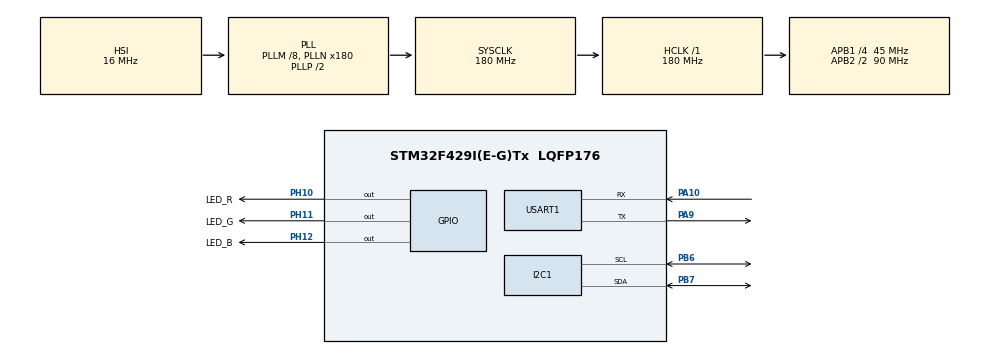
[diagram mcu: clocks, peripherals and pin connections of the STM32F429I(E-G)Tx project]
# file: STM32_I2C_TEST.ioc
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Mcu.Family=STM32F4
Mcu.Name=STM32F429I(E-G)Tx
Mcu.Package=LQFP176
NVIC.PriorityGroup=NVIC_PRIORITYGROUP_4
PA10.Mode=Asynchronous
PA10.Signal=USART1_RX
PA9.Mode=Asynchronous
PA9.Signal=USART1_TX
PB6.Mode=I2C
PB6.Signal=I2C1_SCL
PB7.Mode=I2C
PB7.Signal=I2C1_SDA
PH0/OSC_IN.Mode=HSE-External-Oscillator
PH0/OSC_IN.Signal=RCC_OSC_IN
PH1/OSC_OUT.Mode=HSE-External-Oscillator
PH1/OSC_OUT.Signal=RCC_OSC_OUT
PH10.GPIO_Label=LED_R
PH10.Signal=GPIO_Output
PH11.GPIO_Label=LED_G
PH11.Signal=GPIO_Output
PH12.GPIO_Label=LED_B
PH12.Signal=GPIO_Output
ProjectManager.HeapSize=0x200
ProjectManager.StackSize=0x400
ProjectManager.TargetToolchain=MDK-ARM V5.27
RCC.48MHZClocksFreq_Value=90000000
RCC.AHBFreq_Value=180000000
RCC.APB1CLKDivider=RCC_HCLK_DIV4
RCC.APB1Freq_Value=45000000
RCC.APB1TimFreq_Value=90000000
RCC.APB2CLKDivider=RCC_HCLK_DIV2
RCC.APB2Freq_Value=90000000
RCC.APB2TimFreq_Value=180000000
RCC.CortexFreq_Value=180000000
RCC.HCLKFreq_Value=180000000
RCC.HSE_VALUE=25000000
RCC.HSI_VALUE=16000000
RCC.LSE_VALUE=32768
RCC.PLLM=8
RCC.PLLN=180
RCC.SYSCLKFreq_VALUE=180000000
RCC.SYSCLKSource=RCC_SYSCLKSOURCE_PLLCLK
RCC.VCOOutputFreq_Value=360000000
USART1.VirtualMode=VM_ASYNC
board=custom

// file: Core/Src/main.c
/* USER CODE BEGIN Header */
/**
  ******************************************************************************
  * @file           : main.c
  * @brief          : Main program body
  ******************************************************************************
  * @attention
  *
  * <h2><center>&copy; Copyright (c) 2022 STMicroelectronics.
  * All rights reserved.</center></h2>
  *
  * This software component is licensed by ST under BSD 3-Clause license,
  * the "License"; You may not use this file except in compliance with the
  * License. You may obtain a copy of the License at:
  *                        opensource.org/licenses/BSD-3-Clause
  *
  ******************************************************************************
  */
/* USER CODE END Header */
#include "main.h"
#include "i2c.h"
#include "usart.h"
#include "gpio.h"

/* USER CODE BEGIN Includes */
#include "stdio.h"

/* USER CODE END Includes */

/* USER CODE BEGIN PD */
#define  DATA_Size			256
#define  EEP_Firstpage      0x00

/* USER CODE END PD */

/* USER CODE BEGIN PV */
uint8_t I2C_Buf_Write[DATA_Size];
uint8_t I2C_Buf_Read[DATA_Size];

/* USER CODE END PV */

void SystemClock_Config(void);

int main(void)
{

  /* MCU Configuration--------------------------------------------------------*/

  /* Reset of all peripherals, Initializes the Flash interface and the Systick. */
  HAL_Init();

  /* Configure the system clock */
  SystemClock_Config();

  /* Initialize all configured peripherals */
  MX_GPIO_Init();
  MX_I2C1_Init();
  MX_USART1_UART_Init();
  /* USER CODE BEGIN 2 */

	printf("STM32 I2C TEST!\n");

	if(I2C_Test() ==  1)
	{
		//LED Green
		HAL_GPIO_WritePin(GPIOH, LED_R_Pin, GPIO_PIN_SET);
		HAL_GPIO_WritePin(GPIOH, LED_G_Pin, GPIO_PIN_RESET);
		HAL_GPIO_WritePin(GPIOH, LED_B_Pin, GPIO_PIN_SET);

	}
	else
	{
		//LED Red
		HAL_GPIO_WritePin(GPIOH, LED_R_Pin, GPIO_PIN_RESET);
		HAL_GPIO_WritePin(GPIOH, LED_G_Pin, GPIO_PIN_SET);
		HAL_GPIO_WritePin(GPIOH, LED_B_Pin, GPIO_PIN_SET);
	}

  /* USER CODE END 2 */

  /* Infinite loop */
  while (1)
  {

  }
}

void SystemClock_Config(void)
{
  RCC_OscInitTypeDef RCC_OscInitStruct = {0};
  RCC_ClkInitTypeDef RCC_ClkInitStruct = {0};

  /** Configure the main internal regulator output voltage
  */
  __HAL_RCC_PWR_CLK_ENABLE();
  __HAL_PWR_VOLTAGESCALING_CONFIG(PWR_REGULATOR_VOLTAGE_SCALE1);
  /** Initializes the RCC Oscillators according to the specified parameters
  * in the RCC_OscInitTypeDef structure.
  */
  RCC_OscInitStruct.OscillatorType = RCC_OSCILLATORTYPE_HSI;
  RCC_OscInitStruct.HSIState = RCC_HSI_ON;
  RCC_OscInitStruct.HSICalibrationValue = RCC_HSICALIBRATION_DEFAULT;
  RCC_OscInitStruct.PLL.PLLState = RCC_PLL_ON;
  RCC_OscInitStruct.PLL.PLLSource = RCC_PLLSOURCE_HSI;
  RCC_OscInitStruct.PLL.PLLM = 8;
  RCC_OscInitStruct.PLL.PLLN = 180;
  RCC_OscInitStruct.PLL.PLLP = RCC_PLLP_DIV2;
  RCC_OscInitStruct.PLL.PLLQ = 4;
  if (HAL_RCC_OscConfig(&RCC_OscInitStruct) != HAL_OK)
  {
    Error_Handler();
  }
  /** Activate the Over-Drive mode
  */
  if (HAL_PWREx_EnableOverDrive() != HAL_OK)
  {
    Error_Handler();
  }
  /** Initializes the CPU, AHB and APB buses clocks
  */
  RCC_ClkInitStruct.ClockType = RCC_CLOCKTYPE_HCLK|RCC_CLOCKTYPE_SYSCLK
                              |RCC_CLOCKTYPE_PCLK1|RCC_CLOCKTYPE_PCLK2;
  RCC_ClkInitStruct.SYSCLKSource = RCC_SYSCLKSOURCE_PLLCLK;
  RCC_ClkInitStruct.AHBCLKDivider = RCC_SYSCLK_DIV1;
  RCC_ClkInitStruct.APB1CLKDivider = RCC_HCLK_DIV4;
  RCC_ClkInitStruct.APB2CLKDivider = RCC_HCLK_DIV2;

  if (HAL_RCC_ClockConfig(&RCC_ClkInitStruct, FLASH_LATENCY_5) != HAL_OK)
  {
    Error_Handler();
  }
}

/* USER CODE BEGIN 4 */
uint8_t I2C_Test(void)
{
	uint16_t i;

	EEPROM_INFO("Data to be wrote");

	for(i = 0; i < DATA_Size; i++)
	{
		I2C_Buf_Write[i] = i;
		printf("0x%02x ", I2C_Buf_Write[i]);

		if(i % 16 == 15)
		{
			printf("\n\r");
		}
	}

	I2C_EE_WriteBuffer(I2C_Buf_Write, EEP_Firstpage, DATA_Size);

	EEPROM_INFO("Data to be read");

	I2C_EE_ReadBuffer(I2C_Buf_Read, EEP_Firstpage, DATA_Size);

	for(i = 0; i < DATA_Size; i++)
	{
		if(I2C_Buf_Read[i] != I2C_Buf_Write[i])
		{
			printf("0x%02x ", I2C_Buf_Read[i]);
			EEPROM_ERROR("Error: I2C DATA ERROR");

			return 0;
		}

		printf("0x%02x ", I2C_Buf_Read[i]);

		if(i % 16== 15)
		{
			printf("\n\r");
		}
	}

	EEPROM_INFO("I2C Write and Read Test Successfully!");

	return 1;

}
/* USER CODE END 4 */

void Error_Handler(void)
{
  __disable_irq();
  while (1)
  {
  }
}

/************************ (C) COPYRIGHT STMicroelectronics *****END OF FILE****/
